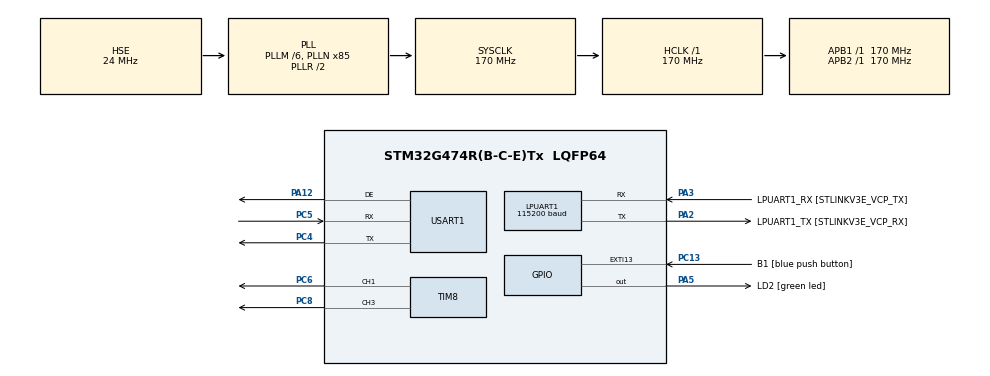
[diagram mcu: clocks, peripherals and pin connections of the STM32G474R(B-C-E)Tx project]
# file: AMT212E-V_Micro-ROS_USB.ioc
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Dma.LPUART1_RX.3.Direction=DMA_PERIPH_TO_MEMORY
Dma.LPUART1_RX.3.EventEnable=DISABLE
Dma.LPUART1_RX.3.Instance=DMA1_Channel4
Dma.LPUART1_RX.3.MemDataAlignment=DMA_MDATAALIGN_BYTE
Dma.LPUART1_RX.3.MemInc=DMA_MINC_ENABLE
Dma.LPUART1_RX.3.Mode=DMA_CIRCULAR
Dma.LPUART1_RX.3.PeriphDataAlignment=DMA_PDATAALIGN_BYTE
Dma.LPUART1_RX.3.PeriphInc=DMA_PINC_DISABLE
Dma.LPUART1_RX.3.Polarity=HAL_DMAMUX_REQ_GEN_RISING
Dma.LPUART1_RX.3.Priority=DMA_PRIORITY_VERY_HIGH
Dma.LPUART1_RX.3.RequestNumber=1
Dma.LPUART1_RX.3.SignalID=NONE
Dma.LPUART1_RX.3.SyncEnable=DISABLE
Dma.LPUART1_RX.3.SyncPolarity=HAL_DMAMUX_SYNC_NO_EVENT
Dma.LPUART1_RX.3.SyncRequestNumber=1
Dma.LPUART1_RX.3.SyncSignalID=NONE
Dma.LPUART1_TX.2.Direction=DMA_MEMORY_TO_PERIPH
Dma.LPUART1_TX.2.EventEnable=DISABLE
Dma.LPUART1_TX.2.Instance=DMA1_Channel3
Dma.LPUART1_TX.2.MemDataAlignment=DMA_MDATAALIGN_BYTE
Dma.LPUART1_TX.2.MemInc=DMA_MINC_ENABLE
Dma.LPUART1_TX.2.Mode=DMA_NORMAL
Dma.LPUART1_TX.2.PeriphDataAlignment=DMA_PDATAALIGN_BYTE
Dma.LPUART1_TX.2.PeriphInc=DMA_PINC_DISABLE
Dma.LPUART1_TX.2.Polarity=HAL_DMAMUX_REQ_GEN_RISING
Dma.LPUART1_TX.2.Priority=DMA_PRIORITY_VERY_HIGH
Dma.LPUART1_TX.2.RequestNumber=1
Dma.LPUART1_TX.2.SignalID=NONE
Dma.LPUART1_TX.2.SyncEnable=DISABLE
Dma.LPUART1_TX.2.SyncPolarity=HAL_DMAMUX_SYNC_NO_EVENT
Dma.LPUART1_TX.2.SyncRequestNumber=1
Dma.LPUART1_TX.2.SyncSignalID=NONE
Dma.Request0=USART1_RX
Dma.Request1=USART1_TX
Dma.Request2=LPUART1_TX
Dma.Request3=LPUART1_RX
Dma.USART1_RX.0.Direction=DMA_PERIPH_TO_MEMORY
Dma.USART1_RX.0.EventEnable=DISABLE
Dma.USART1_RX.0.Instance=DMA1_Channel1
Dma.USART1_RX.0.MemDataAlignment=DMA_MDATAALIGN_BYTE
Dma.USART1_RX.0.MemInc=DMA_MINC_ENABLE
Dma.USART1_RX.0.Mode=DMA_CIRCULAR
Dma.USART1_RX.0.PeriphDataAlignment=DMA_PDATAALIGN_BYTE
Dma.USART1_RX.0.PeriphInc=DMA_PINC_DISABLE
Dma.USART1_RX.0.Polarity=HAL_DMAMUX_REQ_GEN_RISING
Dma.USART1_RX.0.Priority=DMA_PRIORITY_LOW
Dma.USART1_RX.0.RequestNumber=1
Dma.USART1_RX.0.SignalID=NONE
Dma.USART1_RX.0.SyncEnable=DISABLE
Dma.USART1_RX.0.SyncPolarity=HAL_DMAMUX_SYNC_NO_EVENT
Dma.USART1_RX.0.SyncRequestNumber=1
Dma.USART1_RX.0.SyncSignalID=NONE
Dma.USART1_TX.1.Direction=DMA_MEMORY_TO_PERIPH
Dma.USART1_TX.1.EventEnable=DISABLE
Dma.USART1_TX.1.Instance=DMA1_Channel2
Dma.USART1_TX.1.MemDataAlignment=DMA_MDATAALIGN_BYTE
Dma.USART1_TX.1.MemInc=DMA_MINC_ENABLE
Dma.USART1_TX.1.Mode=DMA_NORMAL
Dma.USART1_TX.1.PeriphDataAlignment=DMA_PDATAALIGN_BYTE
Dma.USART1_TX.1.PeriphInc=DMA_PINC_DISABLE
Dma.USART1_TX.1.Polarity=HAL_DMAMUX_REQ_GEN_RISING
Dma.USART1_TX.1.Priority=DMA_PRIORITY_LOW
Dma.USART1_TX.1.RequestNumber=1
Dma.USART1_TX.1.SignalID=NONE
Dma.USART1_TX.1.SyncEnable=DISABLE
Dma.USART1_TX.1.SyncPolarity=HAL_DMAMUX_SYNC_NO_EVENT
Dma.USART1_TX.1.SyncRequestNumber=1
Dma.USART1_TX.1.SyncSignalID=NONE
FREERTOS.Tasks01=defaultTask,24,3000,StartDefaultTask,Default,NULL,Static,defaultTaskBuffer,defaultTaskControlBlock
FREERTOS.configENABLE_FPU=1
FREERTOS.configUSE_NEWLIB_REENTRANT=1
IWDG.Reload=2499
LPUART1.BaudRate=115200
Mcu.Family=STM32G4
Mcu.Name=STM32G474R(B-C-E)Tx
Mcu.Package=LQFP64
NVIC.DMA1_Channel1_IRQn=true\:5\:0\:false\:false\:true\:true\:false\:true\:true
NVIC.DMA1_Channel2_IRQn=true\:5\:0\:false\:false\:true\:true\:false\:true\:true
NVIC.DMA1_Channel3_IRQn=true\:5\:0\:false\:false\:true\:true\:false\:true\:true
NVIC.DMA1_Channel4_IRQn=true\:5\:0\:false\:false\:true\:true\:false\:true\:true
NVIC.EXTI15_10_IRQn=true\:5\:0\:false\:false\:true\:true\:true\:true\:true
NVIC.LPUART1_IRQn=true\:5\:0\:false\:false\:true\:true\:true\:true\:true
NVIC.PriorityGroup=NVIC_PRIORITYGROUP_4
NVIC.TIM1_UP_TIM16_IRQn=true\:15\:0\:false\:false\:true\:false\:false\:true\:true
NVIC.TIM2_IRQn=true\:5\:0\:false\:false\:true\:true\:true\:true\:true
NVIC.TimeBase=TIM1_UP_TIM16_IRQn
NVIC.TimeBaseIP=TIM1
NVIC.USART1_IRQn=true\:5\:0\:false\:false\:true\:true\:true\:true\:true
PA12.Mode=Hardware Flow Control (RS485)
PA12.Signal=USART1_DE
PA13.GPIO_Label=T_SWDIO
PA13.Signal=SYS_JTMS-SWDIO
PA14.GPIO_Label=T_SWCLK
PA14.Signal=SYS_JTCK-SWCLK
PA2.GPIO_Label=LPUART1_TX [STLINKV3E_VCP_RX]
PA2.Mode=Asynchronous
PA2.Signal=LPUART1_TX
PA3.GPIO_Label=LPUART1_RX [STLINKV3E_VCP_TX]
PA3.Mode=Asynchronous
PA3.Signal=LPUART1_RX
PA5.GPIO_Label=LD2 [green led]
PA5.Signal=GPIO_Output
PB3.GPIO_Label=T_SWO
PB3.Signal=SYS_JTDO-SWO
PC13.GPIO_Label=B1 [blue push button]
PC13.Signal=GPXTI13
PC14-OSC32_IN.GPIO_Label=RCC_OSC32_IN
PC14-OSC32_IN.Signal=RCC_OSC32_IN
PC15-OSC32_OUT.GPIO_Label=RCC_OSC32_OUT
PC15-OSC32_OUT.Signal=RCC_OSC32_OUT
PC4.Mode=Asynchronous
PC4.Signal=USART1_TX
PC5.Mode=Asynchronous
PC5.Signal=USART1_RX
PC6.Signal=S_TIM8_CH1
PC8.Signal=S_TIM8_CH3
PF0-OSC_IN.GPIO_Label=RCC_OSC_IN
PF0-OSC_IN.Mode=HSE-External-Oscillator
PF0-OSC_IN.Signal=RCC_OSC_IN
PF1-OSC_OUT.GPIO_Label=RCC_OSC_OUT
PF1-OSC_OUT.Mode=HSE-External-Oscillator
PF1-OSC_OUT.Signal=RCC_OSC_OUT
ProjectManager.HeapSize=0x200
ProjectManager.StackSize=0x400
ProjectManager.TargetToolchain=STM32CubeIDE
RCC.ADC12Freq_Value=170000000
RCC.ADC345Freq_Value=170000000
RCC.AHBFreq_Value=170000000
RCC.APB1Freq_Value=170000000
RCC.APB1TimFreq_Value=170000000
RCC.APB2Freq_Value=170000000
RCC.APB2TimFreq_Value=170000000
RCC.CortexFreq_Value=170000000
RCC.EXTERNAL_CLOCK_VALUE=12288000
RCC.HCLKFreq_Value=170000000
RCC.HSE_VALUE=24000000
RCC.HSI48_VALUE=48000000
RCC.HSI_VALUE=16000000
RCC.LSE_VALUE=32768
RCC.PLLM=RCC_PLLM_DIV6
RCC.PLLN=85
RCC.PLLSourceVirtual=RCC_PLLSOURCE_HSE
RCC.RTCClockSelection=RCC_RTCCLKSOURCE_LSE
RCC.SYSCLKFreq_VALUE=170000000
RCC.SYSCLKSource=RCC_SYSCLKSOURCE_PLLCLK
RCC.USBFreq_Value=170000000
RCC.VCOOutputFreq_Value=340000000
SH.S_TIM8_CH1.0=TIM8_CH1,PWM Generation1 CH1
SH.S_TIM8_CH3.0=TIM8_CH3,PWM Generation3 CH3
TIM2.PeriodNoDither=1000
TIM2.Prescaler=169
TIM8.Channel-PWM\ Generation1\ CH1=TIM_CHANNEL_1
TIM8.Channel-PWM\ Generation3\ CH3=TIM_CHANNEL_3
USART1.VirtualMode-Asynchronous=VM_ASYNC
USART1.VirtualMode-Hardware\ Flow\ Control\ (RS485)=VM_ASYNC
VP_FREERTOS_VS_CMSIS_V2.Mode=CMSIS_V2
VP_IWDG_VS_IWDG.Mode=IWDG_Activate
VP_SYS_VS_DBSignals.Mode=DisableDeadBatterySignals
VP_SYS_VS_tim1.Mode=TIM1
VP_TIM2_VS_ClockSourceINT.Mode=Internal
board=NUCLEO-G474RE

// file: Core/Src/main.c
/* USER CODE BEGIN Header */
/**
  ******************************************************************************
  * @file           : main.c
  * @brief          : Main program body
  ******************************************************************************
  * @attention
  *
  * Copyright (c) 2024 STMicroelectronics.
  * All rights reserved.
  *
  * This software is licensed under terms that can be found in the LICENSE file
  * in the root directory of this software component.
  * If no LICENSE file comes with this software, it is provided AS-IS.
  *
  ******************************************************************************
  */
/* USER CODE END Header */
#include "main.h"
#include "cmsis_os.h"
#include "dma.h"
#include "iwdg.h"
#include "usart.h"
#include "tim.h"
#include "gpio.h"

/* USER CODE BEGIN Includes */
//#include "AMT212EV.h"
/* USER CODE END Includes */

/* USER CODE BEGIN PV */
//AMT212EV amt;
/* USER CODE END PV */

void SystemClock_Config(void);
void MX_FREERTOS_Init(void);

int main(void)
{

  /* MCU Configuration--------------------------------------------------------*/

  /* Reset of all peripherals, Initializes the Flash interface and the Systick. */
  HAL_Init();

  /* Configure the system clock */
  SystemClock_Config();

  /* Initialize all configured peripherals */
  MX_GPIO_Init();
  MX_DMA_Init();
  MX_TIM2_Init();
  MX_USART1_UART_Init();
  MX_LPUART1_UART_Init();
  MX_IWDG_Init();
  MX_TIM8_Init();
  /* USER CODE BEGIN 2 */
//  AMT212EV_Init(&amt, &huart1, 1000, 16384);
//  HAL_TIM_Base_Start_IT(&htim2);
  /* USER CODE END 2 */

  /* Init scheduler */
  osKernelInitialize();

  /* Call init function for freertos objects (in cmsis_os2.c) */
  MX_FREERTOS_Init();

  /* Start scheduler */
  osKernelStart();

  /* We should never get here as control is now taken by the scheduler */

  /* Infinite loop */
  while (1)
  {

  }
}

void SystemClock_Config(void)
{
  RCC_OscInitTypeDef RCC_OscInitStruct = {0};
  RCC_ClkInitTypeDef RCC_ClkInitStruct = {0};

  /** Configure the main internal regulator output voltage
  */
  HAL_PWREx_ControlVoltageScaling(PWR_REGULATOR_VOLTAGE_SCALE1_BOOST);

  /** Initializes the RCC Oscillators according to the specified parameters
  * in the RCC_OscInitTypeDef structure.
  */
  RCC_OscInitStruct.OscillatorType = RCC_OSCILLATORTYPE_LSI|RCC_OSCILLATORTYPE_HSE;
  RCC_OscInitStruct.HSEState = RCC_HSE_ON;
  RCC_OscInitStruct.LSIState = RCC_LSI_ON;
  RCC_OscInitStruct.PLL.PLLState = RCC_PLL_ON;
  RCC_OscInitStruct.PLL.PLLSource = RCC_PLLSOURCE_HSE;
  RCC_OscInitStruct.PLL.PLLM = RCC_PLLM_DIV6;
  RCC_OscInitStruct.PLL.PLLN = 85;
  RCC_OscInitStruct.PLL.PLLP = RCC_PLLP_DIV2;
  RCC_OscInitStruct.PLL.PLLQ = RCC_PLLQ_DIV2;
  RCC_OscInitStruct.PLL.PLLR = RCC_PLLR_DIV2;
  if (HAL_RCC_OscConfig(&RCC_OscInitStruct) != HAL_OK)
  {
    Error_Handler();
  }

  /** Initializes the CPU, AHB and APB buses clocks
  */
  RCC_ClkInitStruct.ClockType = RCC_CLOCKTYPE_HCLK|RCC_CLOCKTYPE_SYSCLK
                              |RCC_CLOCKTYPE_PCLK1|RCC_CLOCKTYPE_PCLK2;
  RCC_ClkInitStruct.SYSCLKSource = RCC_SYSCLKSOURCE_PLLCLK;
  RCC_ClkInitStruct.AHBCLKDivider = RCC_SYSCLK_DIV1;
  RCC_ClkInitStruct.APB1CLKDivider = RCC_HCLK_DIV1;
  RCC_ClkInitStruct.APB2CLKDivider = RCC_HCLK_DIV1;

  if (HAL_RCC_ClockConfig(&RCC_ClkInitStruct, FLASH_LATENCY_4) != HAL_OK)
  {
    Error_Handler();
  }
}

void HAL_TIM_PeriodElapsedCallback(TIM_HandleTypeDef *htim)
{
  /* USER CODE BEGIN Callback 0 */
//	if(htim == &htim2){
//		AMT212EV_ReadPosition(&amt);
//		AMT212EV_DiffCount(&amt);
//		AMT212EV_Compute(&amt);
//	}

  /* USER CODE END Callback 0 */
  if (htim->Instance == TIM1) {
    HAL_IncTick();
  }
}

void Error_Handler(void)
{
  __disable_irq();
  while (1)
  {
  }
}

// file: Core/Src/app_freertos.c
/* USER CODE BEGIN Header */
/**
  ******************************************************************************
  * File Name          : app_freertos.c
  * Description        : Code for freertos applications
  ******************************************************************************
  * @attention
  *
  * Copyright (c) 2024 STMicroelectronics.
  * All rights reserved.
  *
  * This software is licensed under terms that can be found in the LICENSE file
  * in the root directory of this software component.
  * If no LICENSE file comes with this software, it is provided AS-IS.
  *
  ******************************************************************************
  */
/* USER CODE END Header */

#include "FreeRTOS.h"
#include "task.h"
#include "main.h"
#include "cmsis_os.h"

/* USER CODE BEGIN Includes */
#include "dma.h"
#include "iwdg.h"
#include "gpio.h"
#include "usart.h"

#include <rcl/rcl.h>
#include <rcl/error_handling.h>
#include <rclc/rclc.h>
#include <rclc/executor.h>
#include <uxr/client/transport.h>
#include <rmw_microxrcedds_c/config.h>
#include <rmw_microros/rmw_microros.h>

#include <std_msgs/msg/int32.h>

/* USER CODE END Includes */

typedef StaticTask_t osStaticThreadDef_t;

/* USER CODE BEGIN PM */
#define RCSOFTCHECK(fn) if (fn != RCL_RET_OK) {};
/* USER CODE END PM */

/* USER CODE BEGIN Variables */
rcl_node_t node;
uint8_t sc;

/* USER CODE END Variables */
/* Definitions for defaultTask */
osThreadId_t defaultTaskHandle;
uint32_t defaultTaskBuffer[ 3000 ];
osStaticThreadDef_t defaultTaskControlBlock;
const osThreadAttr_t defaultTask_attributes = {
  .name = "defaultTask",
  .stack_mem = &defaultTaskBuffer[0],
  .stack_size = sizeof(defaultTaskBuffer),
  .cb_mem = &defaultTaskControlBlock,
  .cb_size = sizeof(defaultTaskControlBlock),
  .priority = (osPriority_t) osPriorityNormal,
};

/* USER CODE BEGIN FunctionPrototypes */
bool cubemx_transport_open(struct uxrCustomTransport * transport);
bool cubemx_transport_close(struct uxrCustomTransport * transport);
size_t cubemx_transport_write(struct uxrCustomTransport* transport, const uint8_t * buf, size_t len, uint8_t * err);
size_t cubemx_transport_read(struct uxrCustomTransport* transport, uint8_t* buf, size_t len, int timeout, uint8_t* err);

void * microros_allocate(size_t size, void * state);
void microros_deallocate(void * pointer, void * state);
void * microros_reallocate(void * pointer, size_t size, void * state);
void * microros_zero_allocate(size_t number_of_elements, size_t size_of_element, void * state);

void timer_callback(rcl_timer_t * timer, int64_t last_call_time);
/* USER CODE END FunctionPrototypes */

void StartDefaultTask(void *argument);

void MX_FREERTOS_Init(void); /* (MISRA C 2004 rule 8.1) */

void MX_FREERTOS_Init(void) {

  /* Create the thread(s) */
  /* creation of defaultTask */
  defaultTaskHandle = osThreadNew(StartDefaultTask, NULL, &defaultTask_attributes);

}

void StartDefaultTask(void *argument)
{
  /* USER CODE BEGIN StartDefaultTask */
	// micro-ROS configuration

	rmw_uros_set_custom_transport(
		true,
		(void *) &hlpuart1,
		cubemx_transport_open,
		cubemx_transport_close,
		cubemx_transport_write,
		cubemx_transport_read);

	rcl_allocator_t freeRTOS_allocator = rcutils_get_zero_initialized_allocator();
	freeRTOS_allocator.allocate = microros_allocate;
	freeRTOS_allocator.deallocate = microros_deallocate;
	freeRTOS_allocator.reallocate = microros_reallocate;
	freeRTOS_allocator.zero_allocate =  microros_zero_allocate;

	if (!rcutils_set_default_allocator(&freeRTOS_allocator)) {
	  printf("Error on default allocators (line %d)\n", __LINE__);
	}

	// micro-ROS app
	rcl_timer_t amt_timer;
	rclc_support_t support;
	rclc_executor_t executor;
	rcl_allocator_t allocator;
	rcl_init_options_t init_options;

	const unsigned int timer_period = RCL_MS_TO_NS(10);
	const int timeout_ms = 1000;
	int executor_num = 1;

	// Get message type support
//	const rosidl_message_type_support_t * imu_type_support =
//	  ROSIDL_GET_MSG_TYPE_SUPPORT(sensor_msgs, msg, Imu);
//
//	const rosidl_service_type_support_t * imu_calib_type_support =
//	  ROSIDL_GET_SRV_TYPE_SUPPORT(imu_interfaces, srv, ImuCalibration);

	allocator = rcl_get_default_allocator();

	executor = rclc_executor_get_zero_initialized_executor();

	init_options = rcl_get_zero_initialized_init_options();

	RCSOFTCHECK(rcl_init_options_init(&init_options, allocator));
	RCSOFTCHECK(rcl_init_options_set_domain_id(&init_options, 198));

	//create support init_options
	rclc_support_init_with_options(&support, 0, NULL, &init_options, &allocator);

	//create timer
//	rclc_timer_init_default(&amt_timer, &support, timer_period, timer_callback);

	// create node
	rclc_node_init_default(&node, "G474RE_MPU6050_node", "", &support);

	// create publisher

	//create subscriber

	//create service server

	//create service client

	//create executor
	rclc_executor_init(&executor, &support.context, executor_num, &allocator);

//	rclc_executor_add_timer(&executor, &amt_timer);

	rclc_executor_spin(&executor);

	rmw_uros_sync_session(timeout_ms);

	for(;;)
	{
		osDelay(10);
	}
  /* USER CODE END StartDefaultTask */
}

/* USER CODE BEGIN Application */
void timer_callback(rcl_timer_t * timer, int64_t last_call_time)
{
	sc++;
}
/* USER CODE END Application */
